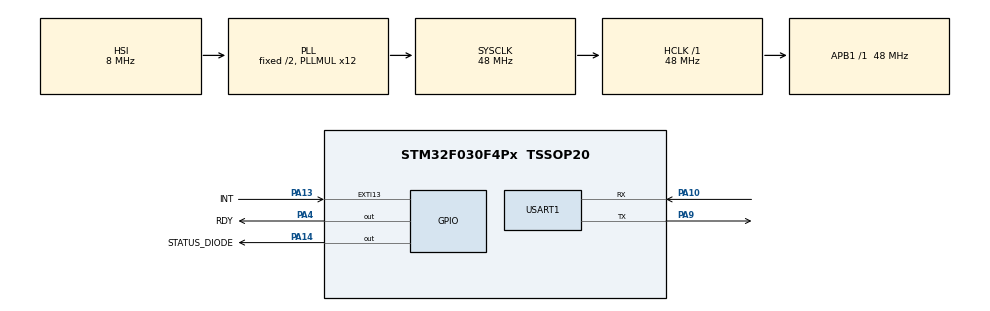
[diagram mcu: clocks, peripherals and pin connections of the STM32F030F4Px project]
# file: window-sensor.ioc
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Mcu.Family=STM32F0
Mcu.Name=STM32F030F4Px
Mcu.Package=TSSOP20
Mcu.UserConstants=I2C_ADDR,I2C_ADDR
NVIC.EXTI4_15_IRQn=true\:0\:0\:false\:false\:true
NVIC.USART1_IRQn=true\:0\:0\:false\:false\:true
PA10.Mode=Asynchronous
PA10.Signal=USART1_RX
PA13.GPIO_Label=INT
PA13.GPIO_ModeDefaultEXTI=GPIO_MODE_IT_FALLING
PA13.GPIO_PuPd=GPIO_PULLUP
PA13.Signal=GPXTI13
PA14.GPIO_Label=STATUS_DIODE
PA14.PinState=GPIO_PIN_SET
PA14.Signal=GPIO_Output
PA4.GPIO_Label=RDY
PA4.Signal=GPIO_Output
PA9.Mode=Asynchronous
PA9.Signal=USART1_TX
ProjectManager.HeapSize=0x200
ProjectManager.StackSize=0x400
ProjectManager.TargetToolchain=Makefile
RCC.AHBFreq_Value=48000000
RCC.APB1Freq_Value=48000000
RCC.APB1TimFreq_Value=48000000
RCC.HCLKFreq_Value=48000000
RCC.PLLMUL=RCC_PLL_MUL12
RCC.SYSCLKFreq_VALUE=48000000
RCC.SYSCLKSource=RCC_SYSCLKSOURCE_PLLCLK
USART1.VirtualMode-Asynchronous=VM_ASYNC
board=window-sensor

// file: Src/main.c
/**
  ******************************************************************************
  * File Name          : main.c
  * Description        : Main program body
  ******************************************************************************
  ** This notice applies to any and all portions of this file
  * that are not between comment pairs USER CODE BEGIN and
  * USER CODE END. Other portions of this file, whether
  * inserted by the user or by software development tools
  * are owned by their respective copyright owners.
  *
  * COPYRIGHT(c) 2017 STMicroelectronics
  *
  * Redistribution and use in source and binary forms, with or without modification,
  * are permitted provided that the following conditions are met:
  *   1. Redistributions of source code must retain the above copyright notice,
  *      this list of conditions and the following disclaimer.
  *   2. Redistributions in binary form must reproduce the above copyright notice,
  *      this list of conditions and the following disclaimer in the documentation
  *      and/or other materials provided with the distribution.
  *   3. Neither the name of STMicroelectronics nor the names of its contributors
  *      may be used to endorse or promote products derived from this software
  *      without specific prior written permission.
  *
  * THIS SOFTWARE IS PROVIDED BY THE COPYRIGHT HOLDERS AND CONTRIBUTORS "AS IS"
  * AND ANY EXPRESS OR IMPLIED WARRANTIES, INCLUDING, BUT NOT LIMITED TO, THE
  * IMPLIED WARRANTIES OF MERCHANTABILITY AND FITNESS FOR A PARTICULAR PURPOSE ARE
  * DISCLAIMED. IN NO EVENT SHALL THE COPYRIGHT HOLDER OR CONTRIBUTORS BE LIABLE
  * FOR ANY DIRECT, INDIRECT, INCIDENTAL, SPECIAL, EXEMPLARY, OR CONSEQUENTIAL
  * DAMAGES (INCLUDING, BUT NOT LIMITED TO, PROCUREMENT OF SUBSTITUTE GOODS OR
  * SERVICES; LOSS OF USE, DATA, OR PROFITS; OR BUSINESS INTERRUPTION) HOWEVER
  * CAUSED AND ON ANY THEORY OF LIABILITY, WHETHER IN CONTRACT, STRICT LIABILITY,
  * OR TORT (INCLUDING NEGLIGENCE OR OTHERWISE) ARISING IN ANY WAY OUT OF THE USE
  * OF THIS SOFTWARE, EVEN IF ADVISED OF THE POSSIBILITY OF SUCH DAMAGE.
  *
  ******************************************************************************
  */
#include "main.h"
#include "stm32f0xx_hal.h"
#include "usart.h"
#include "gpio.h"

/* USER CODE BEGIN PV */
/* Private variables ---------------------------------------------------------*/
#define SIZE 0
#define MESSAGE 1

int mode = SIZE;

uint8_t size = 0;
uint8_t buffer[10];
/* USER CODE END PV */

void SystemClock_Config(void);

/* USER CODE BEGIN PFP */
/* Private function prototypes -----------------------------------------------*/

/* USER CODE END PFP */

int main(void)
{

  /* MCU Configuration----------------------------------------------------------*/

  /* Reset of all peripherals, Initializes the Flash interface and the Systick. */
  HAL_Init();

  /* Configure the system clock */
  SystemClock_Config();

  /* Initialize all configured peripherals */
  MX_GPIO_Init();
  MX_USART1_UART_Init();

  /* USER CODE BEGIN 2 */
  HAL_UART_DeInit(&huart1);
  /* USER CODE END 2 */

  /* Infinite loop */
  /* USER CODE BEGIN WHILE */
#pragma clang diagnostic push
#pragma clang diagnostic ignored "-Wmissing-noreturn"
  while (1) {
  /* USER CODE END WHILE */

  /* USER CODE BEGIN 3 */
    asm("nop");
  }
#pragma clang diagnostic pop
  /* USER CODE END 3 */

}

/** System Clock Configuration
*/
void SystemClock_Config(void)
{

  RCC_OscInitTypeDef RCC_OscInitStruct;
  RCC_ClkInitTypeDef RCC_ClkInitStruct;
  RCC_PeriphCLKInitTypeDef PeriphClkInit;

    /**Initializes the CPU, AHB and APB busses clocks
    */
  RCC_OscInitStruct.OscillatorType = RCC_OSCILLATORTYPE_HSI;
  RCC_OscInitStruct.HSIState = RCC_HSI_ON;
  RCC_OscInitStruct.HSICalibrationValue = 16;
  RCC_OscInitStruct.PLL.PLLState = RCC_PLL_ON;
  RCC_OscInitStruct.PLL.PLLSource = RCC_PLLSOURCE_HSI;
  RCC_OscInitStruct.PLL.PLLMUL = RCC_PLL_MUL12;
  RCC_OscInitStruct.PLL.PREDIV = RCC_PREDIV_DIV1;
  if (HAL_RCC_OscConfig(&RCC_OscInitStruct) != HAL_OK)
  {
    _Error_Handler(__FILE__, __LINE__);
  }

    /**Initializes the CPU, AHB and APB busses clocks
    */
  RCC_ClkInitStruct.ClockType = RCC_CLOCKTYPE_HCLK|RCC_CLOCKTYPE_SYSCLK
                              |RCC_CLOCKTYPE_PCLK1;
  RCC_ClkInitStruct.SYSCLKSource = RCC_SYSCLKSOURCE_PLLCLK;
  RCC_ClkInitStruct.AHBCLKDivider = RCC_SYSCLK_DIV1;
  RCC_ClkInitStruct.APB1CLKDivider = RCC_HCLK_DIV1;

  if (HAL_RCC_ClockConfig(&RCC_ClkInitStruct, FLASH_LATENCY_1) != HAL_OK)
  {
    _Error_Handler(__FILE__, __LINE__);
  }

  PeriphClkInit.PeriphClockSelection = RCC_PERIPHCLK_USART1;
  PeriphClkInit.Usart1ClockSelection = RCC_USART1CLKSOURCE_PCLK1;
  if (HAL_RCCEx_PeriphCLKConfig(&PeriphClkInit) != HAL_OK)
  {
    _Error_Handler(__FILE__, __LINE__);
  }

    /**Configure the Systick interrupt time
    */
  HAL_SYSTICK_Config(HAL_RCC_GetHCLKFreq()/1000);

    /**Configure the Systick
    */
  HAL_SYSTICK_CLKSourceConfig(SYSTICK_CLKSOURCE_HCLK);

  /* SysTick_IRQn interrupt configuration */
  HAL_NVIC_SetPriority(SysTick_IRQn, 0, 0);
}

/* USER CODE BEGIN 4 */

void HAL_GPIO_EXTI_Callback(uint16_t pin) {
  if (pin == INT_Pin) {
      HAL_UART_Init(&huart1);
      HAL_UART_Receive_IT(&huart1, &size, 1);
      HAL_GPIO_WritePin(RDY_GPIO_Port, RDY_Pin, GPIO_PIN_SET);
      HAL_GPIO_WritePin(RDY_GPIO_Port, RDY_Pin, GPIO_PIN_RESET);
  }
}

void HAL_UART_RxCpltCallback(UART_HandleTypeDef *huart) {
  if (mode == SIZE) {
    if (size > 0) {
      mode = MESSAGE;
      HAL_UART_Receive_IT(&huart1, buffer, size);
    } else {
      HAL_UART_Receive_IT(&huart1, &size, 1);
    }
  } else {
    mode = SIZE;
    HAL_UART_DeInit(huart);
    HAL_GPIO_TogglePin(STATUS_DIODE_GPIO_Port, STATUS_DIODE_Pin);
  }
}

/* USER CODE END 4 */

void _Error_Handler(char * file, int line)
{
  while(1)
  {
  }
}

/************************ (C) COPYRIGHT STMicroelectronics *****END OF FILE****/
